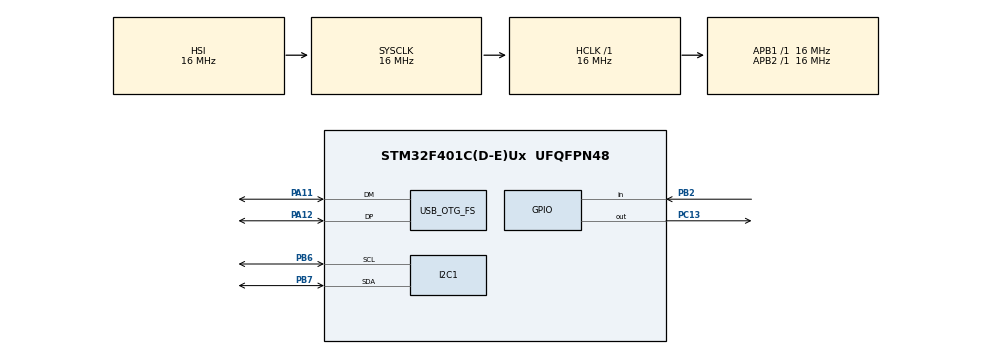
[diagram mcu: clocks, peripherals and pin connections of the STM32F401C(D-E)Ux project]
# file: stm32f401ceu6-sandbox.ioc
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I2C1.I2C_Mode=I2C_Fast
Mcu.Family=STM32F4
Mcu.Name=STM32F401C(D-E)Ux
Mcu.Package=UFQFPN48
NVIC.OTG_FS_IRQn=true\:0\:0\:false\:false\:true\:false\:true\:true
NVIC.PriorityGroup=NVIC_PRIORITYGROUP_4
PA11.Mode=Device_Only
PA11.Signal=USB_OTG_FS_DM
PA12.Mode=Device_Only
PA12.Signal=USB_OTG_FS_DP
PA13.Mode=Serial_Wire
PA13.Signal=SYS_JTMS-SWDIO
PA14.Mode=Serial_Wire
PA14.Signal=SYS_JTCK-SWCLK
PB2.Signal=GPIO_Input
PB6.Mode=I2C
PB6.Signal=I2C1_SCL
PB7.Mode=I2C
PB7.Signal=I2C1_SDA
PC13-ANTI_TAMP.Signal=GPIO_Output
PH0\ -\ OSC_IN.Mode=HSE-External-Oscillator
PH0\ -\ OSC_IN.Signal=RCC_OSC_IN
PH1\ -\ OSC_OUT.Mode=HSE-External-Oscillator
PH1\ -\ OSC_OUT.Signal=RCC_OSC_OUT
ProjectManager.HeapSize=0x200
ProjectManager.StackSize=0x400
ProjectManager.TargetToolchain=STM32CubeIDE
RCC.48MHZClocksFreq_Value=48000000
RCC.AHBFreq_Value=16000000
RCC.APB1Freq_Value=16000000
RCC.APB2Freq_Value=16000000
RCC.CortexFreq_Value=16000000
RCC.HSE_VALUE=25000000
RCC.HSI_VALUE=16000000
RCC.LSE_VALUE=32768
RCC.PLLM=15
RCC.PLLN=144
RCC.PLLQ=5
RCC.SYSCLKFreq_VALUE=16000000
RCC.VCOOutputFreq_Value=240000000
USB_DEVICE.CLASS_NAME_FS=CDC
USB_DEVICE.VirtualMode-CDC_FS=Cdc
USB_DEVICE.VirtualModeFS=Cdc_FS
USB_OTG_FS.VirtualMode=Device_Only
VP_USB_DEVICE_VS_USB_DEVICE_CDC_FS.Mode=CDC_FS
board=custom

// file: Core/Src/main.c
/* USER CODE BEGIN Header */
/**
  ******************************************************************************
  * @file           : main.c
  * @brief          : Main program body
  ******************************************************************************
  * @attention
  *
  * Copyright (c) 2024 STMicroelectronics.
  * All rights reserved.
  *
  * This software is licensed under terms that can be found in the LICENSE file
  * in the root directory of this software component.
  * If no LICENSE file comes with this software, it is provided AS-IS.
  *
  ******************************************************************************
  */
/* USER CODE END Header */
#include "main.h"
#include "usb_device.h"

/* USER CODE BEGIN Includes */
#include <stdio.h>
#include <string.h>
#include "usbd_cdc_if.h"
#include "ssd1306.h"
#include "ssd1306_tests.h"
#include "ssd1306_fonts.h"
/* USER CODE END Includes */

I2C_HandleTypeDef hi2c1;

void SystemClock_Config(void);
static void MX_GPIO_Init(void);
static void MX_I2C1_Init(void);

int main(void)
{

  /* USER CODE BEGIN 1 */
  uint8_t buf[16];

  // Variable to track previous sensor state
  uint8_t previousState = GPIO_PIN_RESET;
  /* USER CODE END 1 */

  /* MCU Configuration--------------------------------------------------------*/

  /* Reset of all peripherals, Initializes the Flash interface and the Systick. */
  HAL_Init();

  /* Configure the system clock */
  SystemClock_Config();

  /* Initialize all configured peripherals */
  MX_GPIO_Init();
  MX_I2C1_Init();
  MX_USB_DEVICE_Init();
  /* USER CODE BEGIN 2 */
  ssd1306_Init();

  // Initially turn off the LED
  HAL_GPIO_WritePin(GPIOC, GPIO_PIN_13, GPIO_PIN_SET);

  /* USER CODE END 2 */

  /* Infinite loop */
  /* USER CODE BEGIN WHILE */
  while (1)
  {
//	  ssd1306_TestAll();
      // Read the motion sensor state
      uint8_t motionState = HAL_GPIO_ReadPin(GPIOB, GPIO_PIN_2);

      // Check if the sensor state has changed
      if (motionState != previousState)
      {
          previousState = motionState;  // Update the previous state

          // Clear the display and set the cursor position
		  ssd1306_Fill(Black);
		  ssd1306_SetCursor(0, 0);

		  if (motionState == GPIO_PIN_SET)
          {
              // Motion detected: Turn on LED, display "Motion" on OLED
              HAL_GPIO_WritePin(GPIOC, GPIO_PIN_13, GPIO_PIN_RESET);

              strcpy((char*)buf, "Motion\r\n");

              ssd1306_WriteString("Motion", Font_11x18, White);
          }
          else
          {
              // No motion: Turn off LED, display "No motion" on OLED
              HAL_GPIO_WritePin(GPIOC, GPIO_PIN_13, GPIO_PIN_SET);

              strcpy((char*)buf, "No motion\r\n");

              ssd1306_WriteString("No motion", Font_11x18, White);
          }

		  CDC_Transmit_FS(buf, strlen((char*)buf));
          ssd1306_UpdateScreen();  // Refresh the OLED display only on state change
      }

    /* USER CODE END WHILE */

  }
}

void SystemClock_Config(void)
{
  RCC_OscInitTypeDef RCC_OscInitStruct = {0};
  RCC_ClkInitTypeDef RCC_ClkInitStruct = {0};

  /** Configure the main internal regulator output voltage
  */
  __HAL_RCC_PWR_CLK_ENABLE();
  __HAL_PWR_VOLTAGESCALING_CONFIG(PWR_REGULATOR_VOLTAGE_SCALE2);

  /** Initializes the RCC Oscillators according to the specified parameters
  * in the RCC_OscInitTypeDef structure.
  */
  RCC_OscInitStruct.OscillatorType = RCC_OSCILLATORTYPE_HSI|RCC_OSCILLATORTYPE_HSE;
  RCC_OscInitStruct.HSEState = RCC_HSE_ON;
  RCC_OscInitStruct.HSIState = RCC_HSI_ON;
  RCC_OscInitStruct.HSICalibrationValue = RCC_HSICALIBRATION_DEFAULT;
  RCC_OscInitStruct.PLL.PLLState = RCC_PLL_ON;
  RCC_OscInitStruct.PLL.PLLSource = RCC_PLLSOURCE_HSE;
  RCC_OscInitStruct.PLL.PLLM = 15;
  RCC_OscInitStruct.PLL.PLLN = 144;
  RCC_OscInitStruct.PLL.PLLP = RCC_PLLP_DIV2;
  RCC_OscInitStruct.PLL.PLLQ = 5;
  if (HAL_RCC_OscConfig(&RCC_OscInitStruct) != HAL_OK)
  {
    Error_Handler();
  }

  /** Initializes the CPU, AHB and APB buses clocks
  */
  RCC_ClkInitStruct.ClockType = RCC_CLOCKTYPE_HCLK|RCC_CLOCKTYPE_SYSCLK
                              |RCC_CLOCKTYPE_PCLK1|RCC_CLOCKTYPE_PCLK2;
  RCC_ClkInitStruct.SYSCLKSource = RCC_SYSCLKSOURCE_HSI;
  RCC_ClkInitStruct.AHBCLKDivider = RCC_SYSCLK_DIV1;
  RCC_ClkInitStruct.APB1CLKDivider = RCC_HCLK_DIV1;
  RCC_ClkInitStruct.APB2CLKDivider = RCC_HCLK_DIV1;

  if (HAL_RCC_ClockConfig(&RCC_ClkInitStruct, FLASH_LATENCY_0) != HAL_OK)
  {
    Error_Handler();
  }
}

static void MX_I2C1_Init(void)
{

  hi2c1.Instance = I2C1;
  hi2c1.Init.ClockSpeed = 400000;
  hi2c1.Init.DutyCycle = I2C_DUTYCYCLE_2;
  hi2c1.Init.OwnAddress1 = 0;
  hi2c1.Init.AddressingMode = I2C_ADDRESSINGMODE_7BIT;
  hi2c1.Init.DualAddressMode = I2C_DUALADDRESS_DISABLE;
  hi2c1.Init.OwnAddress2 = 0;
  hi2c1.Init.GeneralCallMode = I2C_GENERALCALL_DISABLE;
  hi2c1.Init.NoStretchMode = I2C_NOSTRETCH_DISABLE;
  if (HAL_I2C_Init(&hi2c1) != HAL_OK)
  {
    Error_Handler();
  }

}

static void MX_GPIO_Init(void)
{
  GPIO_InitTypeDef GPIO_InitStruct = {0};

  /* GPIO Ports Clock Enable */
  __HAL_RCC_GPIOC_CLK_ENABLE();
  __HAL_RCC_GPIOH_CLK_ENABLE();
  __HAL_RCC_GPIOB_CLK_ENABLE();
  __HAL_RCC_GPIOA_CLK_ENABLE();

  /*Configure GPIO pin Output Level */
  HAL_GPIO_WritePin(GPIOC, GPIO_PIN_13, GPIO_PIN_RESET);

  /*Configure GPIO pin : PC13 */
  GPIO_InitStruct.Pin = GPIO_PIN_13;
  GPIO_InitStruct.Mode = GPIO_MODE_OUTPUT_PP;
  GPIO_InitStruct.Pull = GPIO_NOPULL;
  GPIO_InitStruct.Speed = GPIO_SPEED_FREQ_LOW;
  HAL_GPIO_Init(GPIOC, &GPIO_InitStruct);

  /*Configure GPIO pin : PB2 */
  GPIO_InitStruct.Pin = GPIO_PIN_2;
  GPIO_InitStruct.Mode = GPIO_MODE_INPUT;
  GPIO_InitStruct.Pull = GPIO_NOPULL;
  HAL_GPIO_Init(GPIOB, &GPIO_InitStruct);

}

void Error_Handler(void)
{
  __disable_irq();
  while (1)
  {
  }
}
